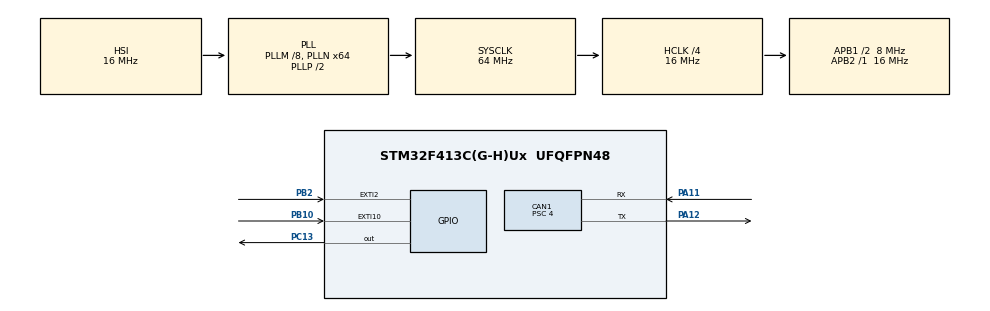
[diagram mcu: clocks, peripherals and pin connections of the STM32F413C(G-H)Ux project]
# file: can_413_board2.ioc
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CAN1.AWUM=ENABLE
CAN1.BS1=CAN_BS1_2TQ
CAN1.CalculateBaudRate=500000
CAN1.CalculateTimeBit=2000
CAN1.CalculateTimeQuantum=500.0
CAN1.Mode=CAN_MODE_NORMAL
CAN1.NART=ENABLE
CAN1.Prescaler=4
Mcu.Family=STM32F4
Mcu.Name=STM32F413C(G-H)Ux
Mcu.Package=UFQFPN48
NVIC.CAN1_RX0_IRQn=true\:0\:0\:false\:false\:true\:true\:true
NVIC.CAN1_TX_IRQn=true\:0\:0\:false\:false\:true\:true\:true
NVIC.EXTI15_10_IRQn=true\:0\:0\:false\:false\:true\:true\:true
NVIC.EXTI2_IRQn=true\:0\:0\:false\:false\:true\:true\:true
NVIC.PriorityGroup=NVIC_PRIORITYGROUP_4
NVIC.TIM8_TRG_COM_TIM14_IRQn=true\:0\:0\:false\:false\:true\:true\:true
PA11.Mode=CAN_Activate
PA11.Signal=CAN1_RX
PA12.Mode=CAN_Activate
PA12.Signal=CAN1_TX
PA13.Mode=Serial_Wire
PA13.Signal=SYS_JTMS-SWDIO
PA14.Mode=Serial_Wire
PA14.Signal=SYS_JTCK-SWCLK
PB10.GPIO_ModeDefaultEXTI=GPIO_MODE_IT_FALLING
PB10.GPIO_PuPd=GPIO_PULLUP
PB10.Signal=GPXTI10
PB2.GPIO_PuPd=GPIO_PULLUP
PB2.Signal=GPXTI2
PC13.Signal=GPIO_Output
ProjectManager.HeapSize=0x200
ProjectManager.StackSize=0x400
ProjectManager.TargetToolchain=Makefile
RCC.AHBCLKDivider=RCC_SYSCLK_DIV4
RCC.AHBFreq_Value=16000000
RCC.APB1CLKDivider=RCC_HCLK_DIV2
RCC.APB1Freq_Value=8000000
RCC.APB1TimFreq_Value=16000000
RCC.APB2Freq_Value=16000000
RCC.APB2TimFreq_Value=16000000
RCC.CortexFreq_Value=16000000
RCC.HCLKFreq_Value=16000000
RCC.PLLM=8
RCC.PLLN=64
RCC.SYSCLKFreq_VALUE=64000000
RCC.SYSCLKSource=RCC_SYSCLKSOURCE_PLLCLK
RCC.USBFreq_Value=64000000
RCC.VCOOutputFreq_Value=128000000
TIM14.Period=100-1
TIM14.Prescaler=7200-1
VP_TIM14_VS_ClockSourceINT.Mode=Enable_Timer
board=custom

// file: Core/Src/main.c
/* USER CODE BEGIN Header */
/**
  ******************************************************************************
  * @file           : main.c
  * @brief          : Main program body
  ******************************************************************************
  * @attention
  *
  * Copyright (c) 2022 STMicroelectronics.
  * All rights reserved.
  *
  * This software is licensed under terms that can be found in the LICENSE file
  * in the root directory of this software component.
  * If no LICENSE file comes with this software, it is provided AS-IS.
  *
  ******************************************************************************
  */
/* USER CODE END Header */
#include "main.h"

CAN_HandleTypeDef hcan1;

TIM_HandleTypeDef htim14;

/* USER CODE BEGIN PV */
uint8_t blink = 0;

/* USER CODE END PV */

void SystemClock_Config(void);
static void MX_GPIO_Init(void);
static void MX_CAN1_Init(void);
static void MX_TIM14_Init(void);

/* USER CODE BEGIN 0 */

CAN_TxHeaderTypeDef TxHeader;
CAN_TxHeaderTypeDef TxHeader2;
CAN_RxHeaderTypeDef RxHeader;

uint32_t TxMailbox;

uint8_t TxData[8];
uint8_t TxData2[8];
uint8_t RxData[8];

uint8_t count = 0;

int datacheck = 0;

void HAL_GPIO_EXTI_Callback(uint16_t GPIO_Pin){
  if (GPIO_Pin == GPIO_PIN_10){
    TxData[0] = 100;
    TxData[1] = 4;

    HAL_CAN_AddTxMessage(&hcan1, &TxHeader, TxData, &TxMailbox);

  }
  else if (GPIO_Pin == GPIO_PIN_2){
    TxData2[0] = 50;
    TxData2[1] = 10;

    HAL_CAN_AddTxMessage(&hcan1, &TxHeader2, TxData2, &TxMailbox);

  }
}

void HAL_CAN_RxFifo0MsgPendingCallback(CAN_HandleTypeDef *hcan){

  HAL_CAN_GetRxMessage(hcan, CAN_RX_FIFO0, &RxHeader, RxData);
  if (RxHeader.StdId == 0x0A1){ // must be "0x012" format with 3 value id
    blink = RxData[0];
  }

}

/* USER CODE END 0 */

int main(void)
{

  /* MCU Configuration--------------------------------------------------------*/

  /* Reset of all peripherals, Initializes the Flash interface and the Systick. */
  HAL_Init();

  /* Configure the system clock */
  SystemClock_Config();

  /* Initialize all configured peripherals */
  MX_GPIO_Init();
  MX_CAN1_Init();
  MX_TIM14_Init();
  /* USER CODE BEGIN 2 */

  HAL_TIM_Base_Start_IT(&htim14);

  HAL_CAN_Start(&hcan1);
  HAL_CAN_ActivateNotification(&hcan1, CAN_IT_RX_FIFO0_MSG_PENDING);

  TxHeader.DLC = 2;
  TxHeader.ExtId = 0;
  TxHeader.IDE = CAN_ID_STD;
  TxHeader.RTR = CAN_RTR_DATA;
  TxHeader.StdId = 0xA0;
  TxHeader.TransmitGlobalTime = DISABLE;

  TxData[0] = 0xf3;

  HAL_CAN_AddTxMessage(&hcan1, &TxHeader, TxData, &TxMailbox);

  TxHeader2.DLC = 2;
  TxHeader2.ExtId = 0;
  TxHeader2.IDE = CAN_ID_STD;
  TxHeader2.RTR = CAN_RTR_DATA;
  TxHeader2.StdId = 0xA2;
  TxHeader2.TransmitGlobalTime = DISABLE;

  TxData2[0] = 0xf3;

  HAL_CAN_AddTxMessage(&hcan1, &TxHeader2, TxData2, &TxMailbox);

  /* USER CODE END 2 */

  /* Infinite loop */
  while (1)
  {

    /* USER CODE BEGIN 3 */
    // TxData[0] = 100;
    // TxData[1] = 3;

    // HAL_CAN_AddTxMessage(&hcan1, &TxHeader, TxData, &TxMailbox);
    // datacheck = 1;

    // if (blink){
    //   for (int i=0; i<2; i++){
    //     HAL_GPIO_TogglePin(GPIOC, GPIO_PIN_13);
    //     HAL_Delay(100);
    //   }
    //   blink = 0;
    // }

  }
  /* USER CODE END 3 */
}

void SystemClock_Config(void)
{
  RCC_OscInitTypeDef RCC_OscInitStruct = {0};
  RCC_ClkInitTypeDef RCC_ClkInitStruct = {0};

  /** Configure the main internal regulator output voltage
  */
  __HAL_RCC_PWR_CLK_ENABLE();
  __HAL_PWR_VOLTAGESCALING_CONFIG(PWR_REGULATOR_VOLTAGE_SCALE1);
  /** Initializes the RCC Oscillators according to the specified parameters
  * in the RCC_OscInitTypeDef structure.
  */
  RCC_OscInitStruct.OscillatorType = RCC_OSCILLATORTYPE_HSI;
  RCC_OscInitStruct.HSIState = RCC_HSI_ON;
  RCC_OscInitStruct.HSICalibrationValue = RCC_HSICALIBRATION_DEFAULT;
  RCC_OscInitStruct.PLL.PLLState = RCC_PLL_ON;
  RCC_OscInitStruct.PLL.PLLSource = RCC_PLLSOURCE_HSI;
  RCC_OscInitStruct.PLL.PLLM = 8;
  RCC_OscInitStruct.PLL.PLLN = 64;
  RCC_OscInitStruct.PLL.PLLP = RCC_PLLP_DIV2;
  RCC_OscInitStruct.PLL.PLLQ = 2;
  RCC_OscInitStruct.PLL.PLLR = 2;
  if (HAL_RCC_OscConfig(&RCC_OscInitStruct) != HAL_OK)
  {
    Error_Handler();
  }
  /** Initializes the CPU, AHB and APB buses clocks
  */
  RCC_ClkInitStruct.ClockType = RCC_CLOCKTYPE_HCLK|RCC_CLOCKTYPE_SYSCLK
                              |RCC_CLOCKTYPE_PCLK1|RCC_CLOCKTYPE_PCLK2;
  RCC_ClkInitStruct.SYSCLKSource = RCC_SYSCLKSOURCE_PLLCLK;
  RCC_ClkInitStruct.AHBCLKDivider = RCC_SYSCLK_DIV4;
  RCC_ClkInitStruct.APB1CLKDivider = RCC_HCLK_DIV2;
  RCC_ClkInitStruct.APB2CLKDivider = RCC_HCLK_DIV1;

  if (HAL_RCC_ClockConfig(&RCC_ClkInitStruct, FLASH_LATENCY_0) != HAL_OK)
  {
    Error_Handler();
  }
}

static void MX_CAN1_Init(void)
{

  hcan1.Instance = CAN1;
  hcan1.Init.Prescaler = 4;
  hcan1.Init.Mode = CAN_MODE_NORMAL;
  hcan1.Init.SyncJumpWidth = CAN_SJW_1TQ;
  hcan1.Init.TimeSeg1 = CAN_BS1_2TQ;
  hcan1.Init.TimeSeg2 = CAN_BS2_1TQ;
  hcan1.Init.TimeTriggeredMode = DISABLE;
  hcan1.Init.AutoBusOff = DISABLE;
  hcan1.Init.AutoWakeUp = ENABLE;
  hcan1.Init.AutoRetransmission = ENABLE;
  hcan1.Init.ReceiveFifoLocked = DISABLE;
  hcan1.Init.TransmitFifoPriority = DISABLE;
  if (HAL_CAN_Init(&hcan1) != HAL_OK)
  {
    Error_Handler();
  }
  /* USER CODE BEGIN CAN1_Init 2 */

  CAN_FilterTypeDef canfilterconfig;
  canfilterconfig.FilterActivation = CAN_FILTER_ENABLE;
  canfilterconfig.FilterBank = 0;
  canfilterconfig.FilterFIFOAssignment = CAN_RX_FIFO0;
  canfilterconfig.FilterIdHigh = 0xA1 << 5; // IMPORTANT:
  canfilterconfig.FilterIdLow = 0x0000;
  canfilterconfig.FilterMaskIdHigh = 0xA1 << 5;
  canfilterconfig.FilterMaskIdLow = 0x0000;
  canfilterconfig.FilterMode = CAN_FILTERMODE_IDMASK;
  canfilterconfig.FilterScale = CAN_FILTERSCALE_32BIT;
  canfilterconfig.SlaveStartFilterBank = 0;

  HAL_CAN_ConfigFilter(&hcan1, &canfilterconfig);

  /* USER CODE END CAN1_Init 2 */

}

static void MX_TIM14_Init(void)
{

  htim14.Instance = TIM14;
  htim14.Init.Prescaler = 7200-1;
  htim14.Init.CounterMode = TIM_COUNTERMODE_UP;
  htim14.Init.Period = 100-1;
  htim14.Init.ClockDivision = TIM_CLOCKDIVISION_DIV1;
  htim14.Init.AutoReloadPreload = TIM_AUTORELOAD_PRELOAD_DISABLE;
  if (HAL_TIM_Base_Init(&htim14) != HAL_OK)
  {
    Error_Handler();
  }

}

static void MX_GPIO_Init(void)
{
  GPIO_InitTypeDef GPIO_InitStruct = {0};

  /* GPIO Ports Clock Enable */
  __HAL_RCC_GPIOC_CLK_ENABLE();
  __HAL_RCC_GPIOB_CLK_ENABLE();
  __HAL_RCC_GPIOA_CLK_ENABLE();

  /*Configure GPIO pin Output Level */
  HAL_GPIO_WritePin(GPIOC, GPIO_PIN_13, GPIO_PIN_RESET);

  /*Configure GPIO pin : PC13 */
  GPIO_InitStruct.Pin = GPIO_PIN_13;
  GPIO_InitStruct.Mode = GPIO_MODE_OUTPUT_PP;
  GPIO_InitStruct.Pull = GPIO_NOPULL;
  GPIO_InitStruct.Speed = GPIO_SPEED_FREQ_LOW;
  HAL_GPIO_Init(GPIOC, &GPIO_InitStruct);

  /*Configure GPIO pin : PB2 */
  GPIO_InitStruct.Pin = GPIO_PIN_2;
  GPIO_InitStruct.Mode = GPIO_MODE_IT_RISING;
  GPIO_InitStruct.Pull = GPIO_PULLUP;
  HAL_GPIO_Init(GPIOB, &GPIO_InitStruct);

  /*Configure GPIO pin : PB10 */
  GPIO_InitStruct.Pin = GPIO_PIN_10;
  GPIO_InitStruct.Mode = GPIO_MODE_IT_FALLING;
  GPIO_InitStruct.Pull = GPIO_PULLUP;
  HAL_GPIO_Init(GPIOB, &GPIO_InitStruct);

  /* EXTI interrupt init*/
  HAL_NVIC_SetPriority(EXTI2_IRQn, 0, 0);
  HAL_NVIC_EnableIRQ(EXTI2_IRQn);

  HAL_NVIC_SetPriority(EXTI15_10_IRQn, 0, 0);
  HAL_NVIC_EnableIRQ(EXTI15_10_IRQn);

}

/* USER CODE BEGIN 4 */

void HAL_TIM_PeriodElapsedCallback(TIM_HandleTypeDef *htim){
  // htim14 called every 1sec
  if (htim == &htim14){ // check with timer was called
    // blink = ~blink;
    // set the light to whatever the CAN message is
    // if (blink){
      HAL_GPIO_WritePin(GPIOC, GPIO_PIN_13, blink);
    // }
    // else{
    //   HAL_GPIO_WritePin(GPIOC, GPIO_PIN_13, GPIO_PIN_RESET);

    }
    // if (datacheck){
    // for (int i=0; i<RxData[1]; i++){
        // HAL_GPIO_TogglePin(GPIOC, GPIO_PIN_13);
    //     HAL_Delay(RxData[0]);
    //   }
    //   datacheck = 0;
    // }
  // }
}

/* USER CODE END 4 */

void Error_Handler(void)
{
  __disable_irq();
  while (1)
  {
  }
}
